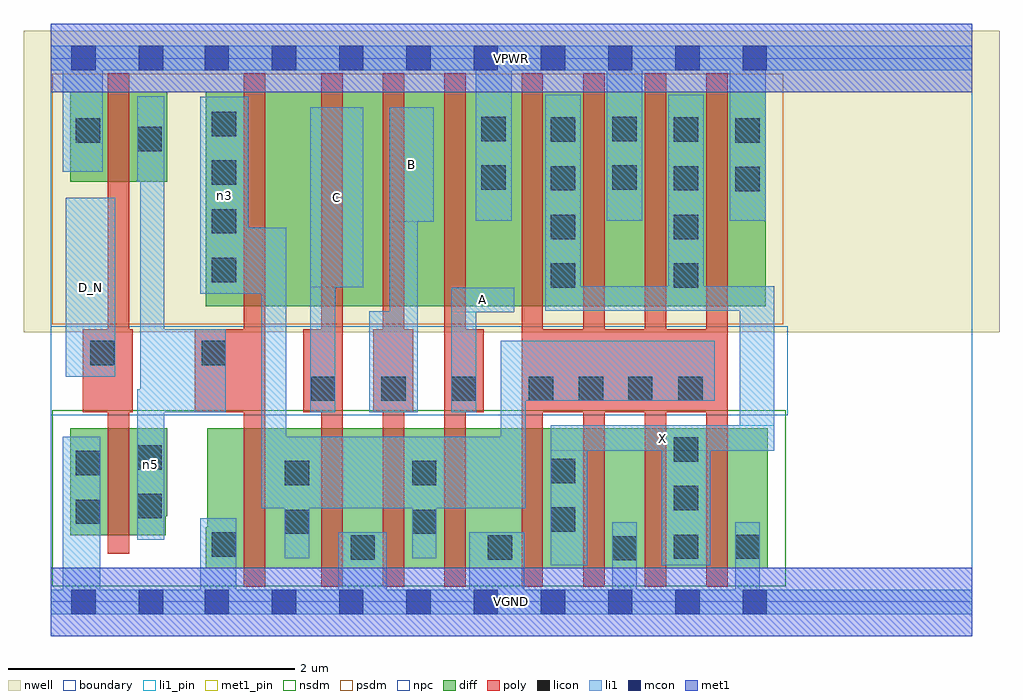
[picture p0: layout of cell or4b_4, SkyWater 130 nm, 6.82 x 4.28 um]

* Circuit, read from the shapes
.subckt or4b_4 A B C D_N VGND VPWR X n3 n5
XM1 n5 D_N VGND VSUBS sky130_fd_pr__nfet_01v8 w=0.75 l=0.15
XM2 n3 n5 VGND VSUBS sky130_fd_pr__nfet_01v8 w=0.98 l=0.15
XM3 VGND C n3 VSUBS sky130_fd_pr__nfet_01v8 w=0.98 l=0.15
XM4 n3 B VGND VSUBS sky130_fd_pr__nfet_01v8 w=0.98 l=0.15
XM5 VGND A n3 VSUBS sky130_fd_pr__nfet_01v8 w=0.98 l=0.15
XM6 X n3 VGND VSUBS sky130_fd_pr__nfet_01v8 w=0.98 l=0.15 m=4
XM7 n5 D_N VPWR n1 sky130_fd_pr__pfet_01v8 w=0.63 l=0.15
XM8 n2 n5 n3 n1 sky130_fd_pr__pfet_01v8 w=1.5 l=0.15
XM9 n4 C n2 n1 sky130_fd_pr__pfet_01v8 w=1.5 l=0.15
XM10 n6 B n4 n1 sky130_fd_pr__pfet_01v8 w=1.5 l=0.15
XM11 VPWR A n6 n1 sky130_fd_pr__pfet_01v8 w=1.5 l=0.15
XM12 X n3 VPWR n1 sky130_fd_pr__pfet_01v8 w=1.5 l=0.15 m=4
.ends

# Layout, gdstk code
import gdstk
lib = gdstk.Library(unit=1e-6, precision=1e-09)
def R(c, l, rs):  # rectangles x0, y0, x1, y1
    for r in rs: c.add(gdstk.rectangle(r[:2], r[2:], *l))
def A(c, l, x, y, w, h, nx, ny, dx, dy):  # array of equal rectangles
    R(c, l, [(x+i*dx, y+j*dy, x+i*dx+w, y+j*dy+h) for i in range(nx) for j in range(ny)])
nwell = (64, 20)
diff = (65, 20)
poly = (66, 20)
licon = (66, 44)
li1_pin = (67, 16)
li1 = (67, 20)
mcon = (67, 44)
met1_pin = (68, 16)
met1 = (68, 20)
nsdm = (93, 44)
psdm = (94, 20)
npc = (95, 20)
boundary = (235, 4)

or4b_4 = lib.new_cell('or4b_4')
R(or4b_4, nwell, [(-0.19,1.885,6.63,3.99), (0,1.885,6.44,3.99)])
R(or4b_4, diff, [(1.085,0.235,5.01,0.52), (1.095,0.235,5.01,1.215), (0.135,0.465,0.805,1.215), (0.135,0.6,0.815,1.215), (1.085,2.065,4.995,3.565), (0.135,2.935,0.815,3.565)])
A(or4b_4, poly, 1.89, 0.105, 0.15, 3.59, 3, 1, 0.43, 0)
A(or4b_4, poly, 3.29, 0.105, 0.15, 3.59, 4, 1, 0.43, 0)
R(or4b_4, poly, [(1.35,0.105,1.5,3.695), (0.4,0.335,0.55,3.695), (0.225,1.325,0.575,1.905), (1.005,1.325,1.5,1.905), (1.765,1.325,2.04,1.905), (2.255,1.325,2.535,1.905), (2.75,1.325,3.025,1.905), (3.29,1.325,4.73,1.905)])
A(or4b_4, licon, 4.355, 0.3, 0.17, 0.17, 1, 3, 0, 0.34)
A(or4b_4, licon, 1.82, 1.405, 0.17, 0.17, 3, 1, 0.49, 0)
A(or4b_4, licon, 3.495, 2.195, 0.17, 0.17, 1, 4, 0, 0.34)
A(or4b_4, licon, 4.355, 2.195, 0.17, 0.17, 1, 4, 0, 0.34)
A(or4b_4, licon, 1.125, 2.235, 0.17, 0.17, 1, 4, 0, 0.34)
R(or4b_4, licon, [(3.925,0.29,4.095,0.46), (2.095,0.295,2.265,0.465), (3.055,0.295,3.225,0.465), (4.785,0.3,4.955,0.47), (1.125,0.315,1.295,0.485), (1.635,0.475,1.805,0.645), (2.525,0.475,2.695,0.645), (3.495,0.49,3.665,0.66), (0.175,0.545,0.345,0.715), (0.605,0.585,0.775,0.755), (1.635,0.815,1.805,0.985), (2.525,0.815,2.695,0.985), (3.495,0.83,3.665,1), (0.175,0.885,0.345,1.055), (0.605,0.925,0.775,1.095), (3.34,1.405,3.51,1.575), (3.69,1.405,3.86,1.575), (4.035,1.405,4.205,1.575), (4.385,1.405,4.555,1.575), (0.275,1.655,0.445,1.825), (1.055,1.655,1.225,1.825), (4.785,2.87,4.955,3.04), (3.01,2.88,3.18,3.05), (3.925,2.88,4.095,3.05), (0.605,3.15,0.775,3.32), (0.175,3.21,0.345,3.38), (4.785,3.21,4.955,3.38), (3.01,3.22,3.18,3.39), (3.925,3.22,4.095,3.39)])
R(or4b_4, li1_pin, [(3.495,1.055,5.055,1.235), (0.105,1.575,0.45,2.825), (2.8,2.025,3.24,2.195), (1.815,2.2,2.185,3.455), (2.37,2.655,2.675,3.455)])
R(or4b_4, li1, [(0,-0.085,6.44,0.085), (0.085,-0.085,0.345,1.155), (1.045,-0.085,1.295,0.585), (2.01,-0.085,2.35,0.485), (2.925,-0.085,3.31,0.485), (3.925,-0.085,4.095,0.555), (4.785,-0.085,4.955,0.555), (3.495,0.255,3.75,1.235), (4.27,0.255,4.61,1.235), (1.635,0.305,1.805,1.155), (2.525,0.305,2.695,1.155), (0.605,0.435,0.795,1.485), (0.625,0.435,0.795,3.535), (1.47,0.655,3.32,1.155), (1.47,0.655,1.645,2.615), (3.145,0.655,3.32,1.825), (3.495,1.055,5.055,1.235), (4.815,1.055,5.055,2.205), (0.625,1.325,1.225,1.905), (1.815,1.325,1.99,3.455), (2.225,1.325,2.565,2.03), (2.37,1.325,2.565,3.455), (2.8,1.325,2.975,2.195), (3.145,1.405,4.64,1.825), (0.105,1.575,0.45,2.825), (2.8,2.025,3.24,2.195), (3.455,2.035,5.055,2.205), (3.455,2.035,3.705,3.545), (4.315,2.035,4.565,3.545), (1.045,2.155,1.38,3.53), (1.045,2.155,1.645,2.615), (1.815,2.2,2.185,3.455), (2.37,2.655,2.675,3.455), (2.97,2.665,3.22,3.885), (3.885,2.665,4.135,3.885), (4.745,2.665,4.995,3.885), (0.605,2.935,0.795,3.535), (0.085,3.005,0.365,3.885), (0,3.715,6.44,3.885)])
A(or4b_4, mcon, 1.075, -0.085, 0.17, 0.17, 9, 2, 0.47, 3.8)
R(or4b_4, mcon, [(0.145,-0.085,0.315,0.085), (0.615,-0.085,0.785,0.085), (0.145,3.715,0.315,3.885), (0.615,3.715,0.785,3.885)])
R(or4b_4, met1_pin, [(0,-0.24,6.44,0.24), (0,3.56,6.44,4.04)])
R(or4b_4, met1, [(0,-0.24,6.44,0.24), (0,3.56,6.44,4.04)])
R(or4b_4, nsdm, [(0.01,0.11,5.135,1.34)])
R(or4b_4, psdm, [(0.01,1.94,5.12,3.69)])
R(or4b_4, npc, [(0,1.305,5.15,1.925)])
R(or4b_4, boundary, [(0,0,6.44,3.8)])
or4b_4.add(gdstk.Label('A', (3.02,2.11), layer=67, texttype=5))
or4b_4.add(gdstk.Label('B', (2.522,3.055), layer=67, texttype=5))
or4b_4.add(gdstk.Label('C', (2,2.827), layer=67, texttype=5))
or4b_4.add(gdstk.Label('D_N', (0.277,2.2), layer=67, texttype=5))
or4b_4.add(gdstk.Label('X', (4.275,1.145), layer=67, texttype=5))
or4b_4.add(gdstk.Label('n3', (1.212,2.842), layer=67, texttype=5))
or4b_4.add(gdstk.Label('n5', (0.7,0.96), layer=67, texttype=5))
or4b_4.add(gdstk.Label('VPWR', (3.22,3.8), layer=68, texttype=5))
or4b_4.add(gdstk.Label('VGND', (3.22,0), layer=68, texttype=5))
or4b_4.add(gdstk.Label('A', (3.02,2.11), layer=67, texttype=16))
or4b_4.add(gdstk.Label('B', (2.522,3.055), layer=67, texttype=16))
or4b_4.add(gdstk.Label('C', (2,2.827), layer=67, texttype=16))
or4b_4.add(gdstk.Label('D_N', (0.277,2.2), layer=67, texttype=16))
or4b_4.add(gdstk.Label('X', (4.275,1.145), layer=67, texttype=16))
or4b_4.add(gdstk.Label('VPWR', (3.22,3.8), layer=68, texttype=16))
or4b_4.add(gdstk.Label('VGND', (3.22,0), layer=68, texttype=16))

lib.write_gds('or4b_4.gds')
